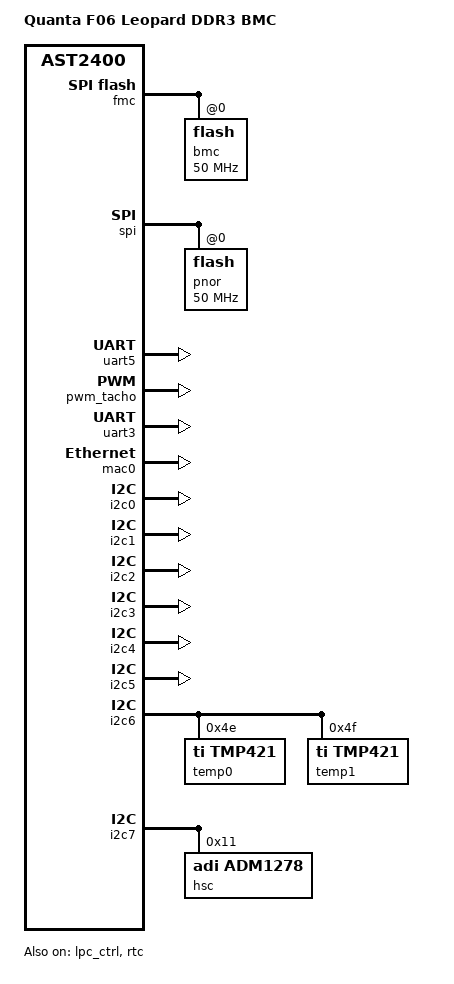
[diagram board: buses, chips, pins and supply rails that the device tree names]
// SPDX-License-Identifier: GPL-2.0+
/dts-v1/;

#include "aspeed-g4.dtsi"
#include "config.h"
#include <dt-bindings/gpio/aspeed-gpio.h>
#include <dt-bindings/thermal/thermal.h>

/ {
	model = "Quanta F06 Leopard DDR3 BMC";
	compatible = "ocp,leopard-bmc", "aspeed,ast2400";

	aliases {
		con = &uart5;
	};
	chosen {
		stdout-path = "con:57600n8";
#ifdef BOOTLOADER
		linux,initrd-start = <CONFIG_INITRD_START>;
		linux,initrd-end = <CONFIG_INITRD_END>;
#endif
	};

	memory@40000000 {
		reg = <0x40000000 CONFIG_RAM_SIZE>;
	};

	// TODO(bluecmd): Remove when u-bmc sets the ilpc2ahb bits itself
	reserved-memory {
		#address-cells = <1>;
		#size-cells = <1>;
		ranges;

		flash_memory: region@98000000 {
			no-map;
			reg = <0x98000000 0x01000000>; /* 16MB */
		};
	};

#ifndef BOOTLOADER
	thermal-zones {
		chassis_thermal: chassis-thermal {
			polling-delay-passive = <250>; /* milliseconds */
			polling-delay = <1000>; /* milliseconds */

			thermal-sensors = <&temp0 0>;

			trips {
				chassis_alert0: chassis-alert {
					temperature = <40000>; /* millicelsius */
					hysteresis = <2000>; /* millicelsius */
					type = "active";
				};
				chassis_crit: chassis-crit {
					temperature = <105000>; /* millicelsius */
					hysteresis = <2000>; /* millicelsius */
					type = "critical";
				};
			};

			cooling-maps {
				map0 {
					trip = <&chassis_alert0>;
					cooling-device = <&fan0 THERMAL_NO_LIMIT THERMAL_NO_LIMIT>,
						<&fan1 THERMAL_NO_LIMIT THERMAL_NO_LIMIT>;
				};
			};
		};
	};
#endif
};

&fmc {
	status = "okay";
	flash@0 {
		status = "okay";
		m25p,fast-read;
		label = "bmc";
		spi-max-frequency = <50000000>;
#include "ubmc-flash-layout.dtsi"
	};
};

&spi {
	status = "okay";
	pinctrl-names = "default";
	pinctrl-0 = <&pinctrl_spi1debug_default>;

	flash@0 {
		status = "okay";
		m25p,fast-read;
		spi-max-frequency = <50000000>;
		label = "pnor";
	};
};

&pinctrl {
	pinctrl-names = "default";
	pinctrl-0 = <&pinctrl_flbusy_default &pinctrl_flwp_default

			&pinctrl_vgahs_default &pinctrl_vgavs_default
			&pinctrl_ddcclk_default &pinctrl_ddcdat_default>;
};

// /dev/ttyS4: BMC console UART
&uart5 {
	status = "okay";
};

#ifndef BOOTLOADER
&pwm_tacho {
	status = "okay";
	pinctrl-names = "default";
	pinctrl-0 = <&pinctrl_pwm0_default &pinctrl_pwm1_default>;
	fan0: fan@0 {
		reg = <0x00>;
		aspeed,fan-tach-ch = /bits/ 8 <0x00>;
		#cooling-cells = <2>;
		// For some reason aspeed-pwm-tacho insists on using 8 bit values.
		// Yes, it's true that it really is only 0-255, but all other cooling
		// devices uses u32, so you don't have to '/bits/ 8'. Oh well.
		cooling-levels = /bits/ 8 <20 130 170 230>;
	};
	fan1: fan@1 {
		reg = <0x01>;
		aspeed,fan-tach-ch = /bits/ 8 <0x02>;
		#cooling-cells = <2>;
		cooling-levels = /bits/ 8 <20 130 170 230>;
	};
};

// /dev/ttyS2: Host's ttyS1
&uart3 {
	status = "okay";
};

&mac0 {
	status = "okay";

	use-ncsi;

	pinctrl-names = "default";
	pinctrl-0 = <&pinctrl_rmii1_default>;
};

&i2c0 {
	status = "okay";
};

&i2c1 {
	status = "okay";
};

&i2c2 {
	status = "okay";
};

&i2c3 {
	status = "okay";
};

&i2c4 {
	status = "okay";
};

&i2c5 {
	status = "okay";
};

&i2c6 {
	status = "okay";
	temp0: tmp421@4e {
		compatible = "ti,tmp421";
		reg = <0x4e>;
		#thermal-sensor-cells = <1>;
	};
	temp1: tmp421@4f {
		compatible = "ti,tmp421";
		reg = <0x4f>;
		#thermal-sensor-cells = <1>;
	};
};

&i2c7 {
	status = "okay";
	hsc@11 {
		compatible = "adi,adm1278";
		reg = <0x11>;
	};
};

// TODO(bluecmd): Right now this is needed in order to enable iLPC2AHB
// for some reason. My understanding is that the FWH and L2H settings
// should not affect iLPC2AHB, but they seem to.
// Removing this stanza right now causes the BMC to not be reachable
// over iLPC2AHB.
&lpc_ctrl {
	status = "okay";
	memory-region = <&flash_memory>;
	flash = <&spi>;
};

&rtc {
	status = "okay";
};
#endif /* !BOOTLOADER */
